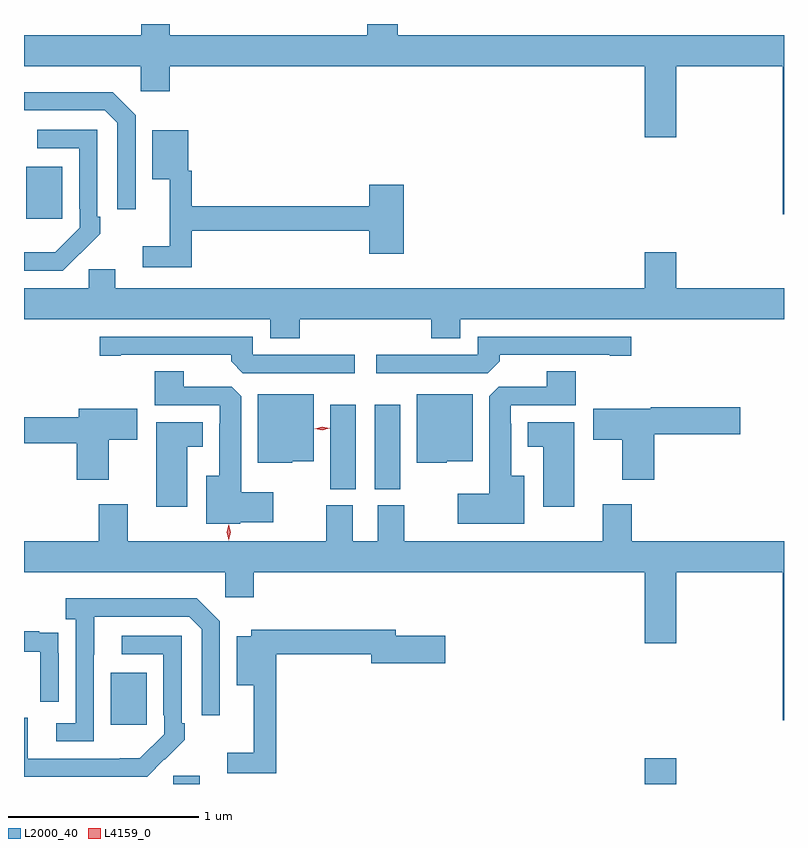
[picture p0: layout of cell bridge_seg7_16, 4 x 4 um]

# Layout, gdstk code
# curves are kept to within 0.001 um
import gdstk
lib = gdstk.Library(unit=1e-6, precision=1e-09)
def R(c, l, rs):  # rectangles x0, y0, x1, y1
    for r in rs: c.add(gdstk.rectangle(r[:2], r[2:], *l))
def P(c, l, *ps):  # polygons
    for p in ps: c.add(gdstk.Polygon(p, *l))
L2000_40 = (2000, 40)
L4159_0 = (4159, 0)

bridge_seg7_16 = lib.new_cell('bridge_seg7_16')
R(bridge_seg7_16, L2000_40, [(1109.577,1040.794,1109.716,1040.838), (1112.06,1040.794,1112.224,1040.929), (1109.249,1041.105,1109.437,1041.379), (1110.404,1042.345,1110.538,1042.789), (1110.638,1042.345,1110.772,1042.789), (1108.805,1043.769,1108.993,1044.043)])
P(bridge_seg7_16, L2000_40, [(1112.792,1044.736),(1110.758,1044.736),(1110.758,1044.794),(1110.598,1044.794),(1110.598,1044.736),(1109.56,1044.736),(1109.56,1044.794),(1109.408,1044.794),(1109.408,1044.736),(1108.792,1044.736),(1108.792,1044.572),(1109.406,1044.572),(1109.406,1044.441),(1109.558,1044.441),(1109.558,1044.572),(1112.06,1044.572),(1112.06,1044.198),(1112.224,1044.198),(1112.224,1044.572),(1112.786,1044.572),(1112.786,1043.793),(1112.792,1043.793)],
  [(1109.379,1044.315),(1109.258,1044.436),(1108.792,1044.436),(1108.792,1044.339),(1109.217,1044.339),(1109.283,1044.273),(1109.283,1043.82),(1109.379,1043.82)],
  [(1109.087,1043.587),(1109.088,1043.586),(1109.193,1043.691),(1109.193,1043.779),(1109.178,1043.779),(1109.178,1044.237),(1108.863,1044.237),(1108.863,1044.141),(1109.082,1044.141),(1109.082,1043.821),(1109.085,1043.821),(1109.085,1043.721),(1108.957,1043.593),(1108.792,1043.592),(1108.792,1043.496),(1108.996,1043.496)],
  [(1109.675,1043.706),(1110.608,1043.706),(1110.608,1043.586),(1110.791,1043.586),(1110.791,1043.947),(1110.608,1043.947),(1110.608,1043.834),(1109.675,1043.834),(1109.675,1044.021),(1109.656,1044.021),(1109.656,1044.235),(1109.468,1044.235),(1109.468,1043.978),(1109.558,1043.978),(1109.558,1043.623),(1109.418,1043.623),(1109.418,1043.514),(1109.675,1043.514)],
  [(1110.242,1043.24),(1110.935,1043.24),(1110.935,1043.141),(1111.087,1043.141),(1111.087,1043.24),(1112.792,1043.24),(1112.792,1043.404),(1112.224,1043.404),(1112.224,1043.593),(1112.06,1043.593),(1112.06,1043.404),(1109.272,1043.404),(1109.272,1043.502),(1109.133,1043.502),(1109.133,1043.404),(1108.792,1043.404),(1108.792,1043.24),(1110.089,1043.24),(1110.089,1043.141),(1110.242,1043.141)],
  [(1111.295,1043.018),(1111.295,1043.052),(1111.874,1043.052),(1111.874,1043.047),(1111.987,1043.047),(1111.987,1043.148),(1111.179,1043.148),(1111.179,1043.052),(1110.645,1043.052),(1110.645,1042.956),(1111.233,1042.956)],
  [(1110.532,1043.052),(1109.997,1043.052),(1109.997,1043.148),(1109.19,1043.148),(1109.19,1043.047),(1109.302,1043.047),(1109.302,1043.052),(1109.882,1043.052),(1109.882,1043.018),(1109.943,1042.956),(1110.532,1042.956)],
  [(1109.931,1042.172),(1110.103,1042.172),(1110.103,1042.33),(1109.935,1042.33),(1109.935,1042.835),(1109.886,1042.884),(1109.632,1042.884),(1109.632,1042.967),(1109.48,1042.967),(1109.48,1042.788),(1109.823,1042.788),(1109.823,1042.691),(1109.819,1042.691),(1109.819,1042.417),(1109.75,1042.417),(1109.75,1042.163),(1109.931,1042.163)],
  [(1111.426,1042.417),(1111.357,1042.417),(1111.357,1042.691),(1111.353,1042.691),(1111.353,1042.788),(1111.697,1042.788),(1111.697,1042.967),(1111.544,1042.967),(1111.544,1042.884),(1111.29,1042.884),(1111.241,1042.835),(1111.241,1042.321),(1111.074,1042.321),(1111.074,1042.163),(1111.426,1042.163)],
  [(1111.017,1042.493),(1111.153,1042.493),(1111.153,1042.846),(1110.86,1042.846),(1110.86,1042.484),(1111.017,1042.484)],
  [(1110.204,1042.493),(1110.316,1042.493),(1110.316,1042.846),(1110.023,1042.846),(1110.023,1042.484),(1110.204,1042.484)],
  [(1112.108,1042.634),(1112.563,1042.634),(1112.563,1042.776),(1112.091,1042.776),(1112.091,1042.768),(1111.788,1042.768),(1111.788,1042.606),(1111.94,1042.606),(1111.94,1042.395),(1112.108,1042.395)],
  [(1109.239,1042.606),(1109.389,1042.606),(1109.389,1042.768),(1109.081,1042.768),(1109.081,1042.724),(1108.792,1042.724),(1108.792,1042.588),(1109.069,1042.588),(1109.069,1042.395),(1109.239,1042.395)],
  [(1109.65,1042.568),(1109.734,1042.568),(1109.734,1042.699),(1109.489,1042.699),(1109.489,1042.254),(1109.65,1042.254)],
  [(1111.687,1042.699),(1111.442,1042.699),(1111.442,1042.568),(1111.526,1042.568),(1111.526,1042.254),(1111.687,1042.254)],
  [(1112.792,1042.072),(1111.991,1042.072),(1111.991,1042.267),(1111.838,1042.267),(1111.838,1042.072),(1110.793,1042.072),(1110.793,1042.26),(1110.653,1042.26),(1110.653,1042.072),(1110.523,1042.072),(1110.523,1042.26),(1110.383,1042.26),(1110.383,1042.072),(1109.338,1042.072),(1109.338,1042.267),(1109.186,1042.267),(1109.186,1042.072),(1108.792,1042.072),(1108.792,1041.908),(1109.85,1041.908),(1109.85,1041.777),(1110.002,1041.777),(1110.002,1041.908),(1112.06,1041.908),(1112.06,1041.534),(1112.224,1041.534),(1112.224,1041.908),(1112.786,1041.908),(1112.786,1041.129),(1112.792,1041.129)],
  [(1109.16,1041.475),(1109.161,1041.675),(1109.661,1041.675),(1109.727,1041.609),(1109.727,1041.156),(1109.823,1041.156),(1109.823,1041.651),(1109.702,1041.772),(1109.013,1041.772),(1109.013,1041.662),(1109.064,1041.662),(1109.064,1041.114),(1108.962,1041.114),(1108.962,1041.018),(1109.16,1041.018)],
  [(1110.119,1041.478),(1110.62,1041.478),(1110.62,1041.43),(1111.009,1041.43),(1111.009,1041.573),(1110.748,1041.573),(1110.748,1041.607),(1109.988,1041.607),(1109.988,1041.571),(1109.912,1041.571),(1109.912,1041.314),(1110.002,1041.314),(1110.002,1040.959),(1109.862,1040.959),(1109.862,1040.85),(1110.119,1040.85)],
  [(1108.974,1041.482),(1108.973,1041.482),(1108.973,1041.591),(1108.871,1041.591),(1108.871,1041.598),(1108.792,1041.598),(1108.792,1041.489),(1108.878,1041.489),(1108.878,1041.228),(1108.974,1041.228)],
  [(1109.531,1040.923),(1109.532,1040.922),(1109.637,1041.027),(1109.637,1041.115),(1109.622,1041.115),(1109.622,1041.573),(1109.307,1041.573),(1109.307,1041.477),(1109.526,1041.477),(1109.526,1041.157),(1109.529,1041.157),(1109.529,1041.057),(1109.401,1040.929),(1108.813,1040.928),(1108.813,1041.144),(1108.792,1041.144),(1108.792,1040.832),(1109.44,1040.832)])
P(bridge_seg7_16, L4159_0, [(1110.362,1042.655),(1110.322,1042.664),(1110.322,1042.665),(1110.322,1042.665),(1110.362,1042.675),(1110.402,1042.666),(1110.402,1042.666),(1110.402,1042.666)],
  [(1109.869,1042.077),(1109.86,1042.118),(1109.869,1042.158),(1109.87,1042.159),(1109.87,1042.158),(1109.88,1042.118),(1109.87,1042.077),(1109.87,1042.077)])

lib.write_gds('bridge_seg7_16.gds')
